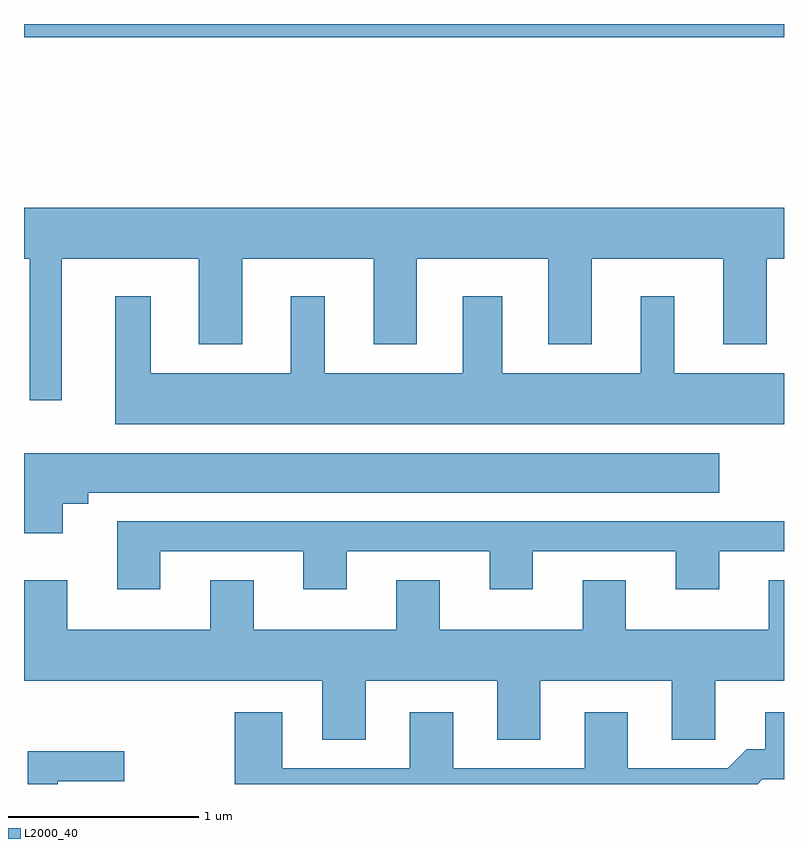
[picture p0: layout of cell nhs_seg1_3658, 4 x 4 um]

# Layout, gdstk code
import gdstk
lib = gdstk.Library(unit=1e-6, precision=1e-09)
def R(c, l, rs):  # rectangles x0, y0, x1, y1
    for r in rs: c.add(gdstk.rectangle(r[:2], r[2:], *l))
def P(c, l, *ps):  # polygons
    for p in ps: c.add(gdstk.Polygon(p, *l))
L2000_40 = (2000, 40)

nhs_seg1_3658 = lib.new_cell('nhs_seg1_3658')
R(nhs_seg1_3658, L2000_40, [(295.611,889.641,299.611,889.712)])
P(nhs_seg1_3658, L2000_40, [(295.809,888.476),(296.531,888.476),(296.531,888.026),(296.759,888.026),(296.759,888.476),(297.451,888.476),(297.451,888.026),(297.679,888.026),(297.679,888.476),(298.371,888.476),(298.371,888.026),(298.599,888.026),(298.599,888.476),(299.291,888.476),(299.291,888.026),(299.519,888.026),(299.519,888.476),(299.611,888.476),(299.611,888.744),(295.611,888.744),(295.611,888.476),(295.641,888.476),(295.641,887.733),(295.809,887.733)],
  [(299.611,887.874),(299.034,887.874),(299.034,888.279),(298.856,888.279),(298.856,887.874),(298.129,887.874),(298.129,888.279),(297.921,888.279),(297.921,887.874),(297.194,887.874),(297.194,888.279),(297.016,888.279),(297.016,887.874),(296.279,887.874),(296.279,888.279),(296.091,888.279),(296.091,887.606),(299.611,887.606)],
  [(295.814,887.186),(295.949,887.186),(295.949,887.246),(299.269,887.246),(299.269,887.454),(295.611,887.454),(295.611,887.031),(295.814,887.031)],
  [(296.329,886.936),(297.081,886.936),(297.081,886.736),(297.309,886.736),(297.309,886.936),(298.061,886.936),(298.061,886.736),(298.289,886.736),(298.289,886.936),(299.041,886.936),(299.041,886.736),(299.269,886.736),(299.269,886.936),(299.611,886.936),(299.611,887.094),(296.101,887.094),(296.101,886.736),(296.329,886.736)],
  [(297.409,886.256),(298.101,886.256),(298.101,885.946),(298.329,885.946),(298.329,886.256),(299.021,886.256),(299.021,885.946),(299.249,885.946),(299.249,886.256),(299.611,886.256),(299.611,886.784),(299.531,886.784),(299.531,886.524),(298.779,886.524),(298.779,886.784),(298.551,886.784),(298.551,886.524),(297.799,886.524),(297.799,886.784),(297.571,886.784),(297.571,886.524),(296.819,886.524),(296.819,886.784),(296.591,886.784),(296.591,886.524),(295.839,886.524),(295.839,886.784),(295.611,886.784),(295.611,886.256),(297.181,886.256),(297.181,885.946),(297.409,885.946)],
  [(299.497,885.736),(299.611,885.736),(299.611,886.089),(299.511,886.089),(299.511,885.894),(299.414,885.894),(299.314,885.794),(298.789,885.794),(298.789,886.089),(298.561,886.089),(298.561,885.794),(297.869,885.794),(297.869,886.089),(297.641,886.089),(297.641,885.794),(296.969,885.794),(296.969,886.089),(296.721,886.089),(296.721,885.712),(299.473,885.712)],
  [(295.789,885.726),(296.138,885.726),(296.138,885.884),(295.631,885.884),(295.631,885.712),(295.789,885.712)])

lib.write_gds('nhs_seg1_3658.gds')
